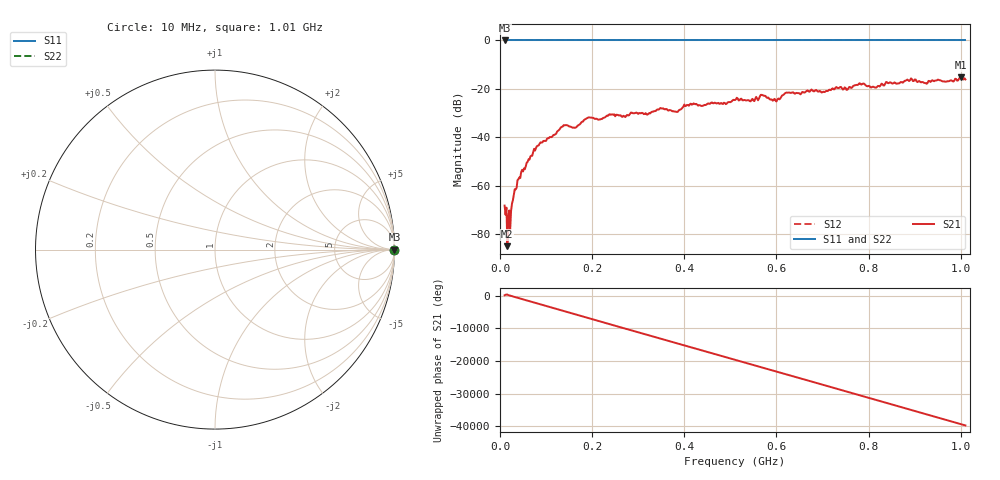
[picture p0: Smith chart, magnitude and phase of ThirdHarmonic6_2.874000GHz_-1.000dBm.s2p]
! 8/17/2025 7:51:55 AM
! C:\ANRITSUVNA\TEMP\TEMP.S2P
! CHANNEL.1
! TR.MEASUREMENT
! RAW.DATA
! RF.CORRECTION.OFF
! AVERAGING.OFF
! IF.BANDWIDTH: 5KHZ
! SWEEPTYPE:  FREQ.SWEEP(Linear)
! Reference Plane Port Info
! PORT:  PORT1  PORT2
! DISTANCE:  0  m  0  m
! TIME:  0  s  0  s
! PHASE.OFFSET:  0  deg.  0  deg.
! LOSS:  0  dB  0  dB
! REF.LOSS:  0  dB  0  dB
! REF.FREQ:  0  Hz  0  Hz
! Power Info
! POWER:  -20  dBm  -20  dBm
! EFF.POWER:  -20  dBm  -20  dBm
! SOURCE.ATTEN:  0  dB  0  dB
! TEST.ATTEN:  0  dB  0  dB
# GHZ S RI R 50.0
! FREQ.GHZ  S11RE  S11IM  S21RE  S21IM  S12RE  S12IM  S22RE  S22IM
!; PortSelection: Port_12
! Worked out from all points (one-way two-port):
!   501 points, 10 MHz to 1.01 GHz, reference 50 ohm
!   highest |S21| = -15.15 dB at 1 GHz (marker M1); lowest = -84.9 dB at 16 MHz (marker M2)
!   lowest |S11| = 0.0 dB at 10 MHz (marker M3)
!   |S11| at or under -10 dB: nowhere
!   |S22| runs from 0.0 to 0.0 dB; largest |S21 - S12| = 1.2
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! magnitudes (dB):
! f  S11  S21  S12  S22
! 10 MHz  0.0  -68.1  0.0  0.0
! 16 MHz  0.0  -84.9  0.0  0.0
! 20 MHz  0.0  -70.2  0.0  0.0
! 30 MHz  0.0  -63.6  0.0  0.0
! 42 MHz  0.0  -56.5  0.0  0.0
! 78 MHz  0.0  -44.4  0.0  0.0
! 136 MHz  0.0  -35.5  0.0  0.0
! 162 MHz  0.0  -36.1  0.0  0.0
! 178 MHz  0.0  -33.6  0.0  0.0
! 194 MHz  0.0  -31.7  0.0  0.0
! 344 MHz  0.0  -28.6  0.0  0.0
! 382 MHz  0.0  -29.4  0.0  0.0
! 416 MHz  0.0  -26.5  0.0  0.0
! 510 MHz  0.0  -24.6  0.0  0.0
! 548 MHz  0.0  -24.1  0.0  0.0
! 570 MHz  0.0  -22.5  0.0  0.0
! 596 MHz  0.0  -24.1  0.0  0.0
! 622 MHz  0.0  -21.5  0.0  0.0
! 678 MHz  0.0  -20.6  0.0  0.0
! 844 MHz  0.0  -17.6  0.0  0.0
! 1 GHz  0.0  -15.2  0.0  0.0
! 1.01 GHz  0.0  -16.1  0.0  0.0
